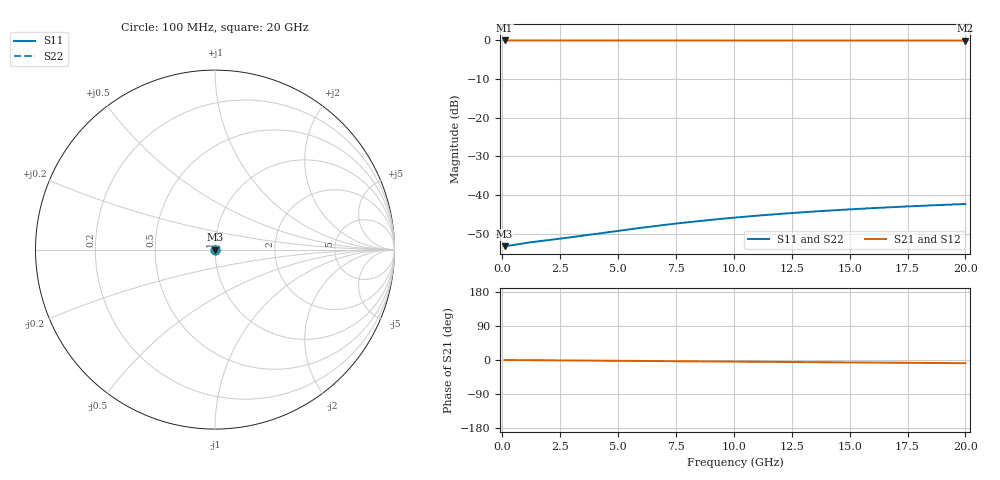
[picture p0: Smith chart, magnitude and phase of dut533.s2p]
! Touchstone file exported from HFSS 2026.1.0
!  File:  C:/ffzhzh/LocalFiles/Ansys_Project_Files/temp_train_TSV_533_1783023803_55676.aedt
!  Generated:  04:26:07 AM Jul  3, 2026
!  Design:  TSV
!  Project:  temp_train_TSV_533_1783023803_55676
! Variables:
!  h_bsmrdl = 2um
!  h_ox = 20um
!  h_rdl = 5um
!  h_sub = 93.64um
!  h_tmrdl = 5um
!  h_tsv = 93.64um
!  h_via = 3um
!  l_bsmrdl = 300um
!  l_sub = 404.42um
!  l_tmrdl = 200um
!  m_sub = 200um
!  pitch = 9.5um
!  r_tsv = 2.21um
!  s_tmrdl = 10um
!  w_bsmrdl = 18um
!  w_sub = 500um
!  w_tmrdl = 12um
!  x_tsv_center1 = 206um
!  x_tsv_center2 = 524um
!  x_tsv_center3 = 736um
!  x_tsv_center4 = 1054um
!  x_tsv_center5 = 1266um
!  x_tsv_center6 = 1584um
# GHz S MA R 50.000000
! Terminal data exported
! Port[1] = TSV1_1_T1
! Port[2] = TSV1_1_T2
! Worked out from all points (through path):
!   200 points, 100 MHz to 20 GHz, reference 50 ohm
!   highest |S21| = -0.02 dB at 100 MHz (marker M1); lowest = 0.0 dB at 20 GHz (marker M2)
!   group delay of S21, straight-line fit = 1.17 ps
!   lowest |S11| = -53.2 dB at 100 MHz (marker M3), VSWR 1.00, Z = 50.2 + j0.00694 ohm
!   |S11| at or under -10 dB: start of sweep to end of sweep
!   |S22| runs from -53.2 to -42.3 dB; largest |S21 - S12| = 2e-15
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0.1  0.002193 1.8  0.9978 -0.0  0.9978 -0.0  0.002193 1.8
! Gamma 0 0 0 0
! Port Impedance 50 0 50 0
0.2  0.002206 3.5  0.9978 -0.1  0.9978 -0.1  0.002206 3.5
0.3  0.002227 5.1  0.9978 -0.1  0.9978 -0.1  0.002227 5.1
0.8  0.002361 10.8  0.9977 -0.4  0.9977 -0.4  0.002361 10.8
1.1  0.002434 13.3  0.9976 -0.5  0.9976 -0.5  0.002434 13.3
2.5  0.002742 22.7  0.9975 -1.1  0.9975 -1.1  0.002742 22.7
3.5  0.003002 28.1  0.9974 -1.5  0.9974 -1.5  0.003002 28.1
5.5  0.003621 35.2  0.9971 -2.4  0.9971 -2.4  0.003621 35.2
6.2  0.003855 36.8  0.997 -2.7  0.997 -2.7  0.003855 36.8
6.8  0.004057 37.8  0.9969 -2.9  0.9969 -2.9  0.004057 37.8
7.6  0.004328 38.7  0.9968 -3.3  0.9968 -3.3  0.004328 38.7
8.4  0.004596 39.4  0.9966 -3.6  0.9966 -3.6  0.004596 39.4
9.2  0.00486 39.8  0.9965 -3.9  0.9965 -3.9  0.00486 39.8
10.1  0.00515 39.9  0.9963 -4.3  0.9963 -4.3  0.00515 39.9
10.9  0.0054 39.9  0.9961 -4.6  0.9961 -4.6  0.0054 39.9
11.7  0.005643 39.8  0.996 -5.0  0.996 -5.0  0.005643 39.8
12.5  0.005877 39.5  0.9958 -5.3  0.9958 -5.3  0.005877 39.5
13.4  0.00613 39.2  0.9956 -5.7  0.9956 -5.7  0.00613 39.2
15  0.006555 38.4  0.9953 -6.4  0.9953 -6.4  0.006555 38.4
16.7  0.006971 37.4  0.995 -7.1  0.995 -7.1  0.006971 37.4
18.3  0.007333 36.4  0.9947 -7.7  0.9947 -7.7  0.007333 36.4
20  0.007688 35.3  0.9944 -8.4  0.9944 -8.4  0.007688 35.3
